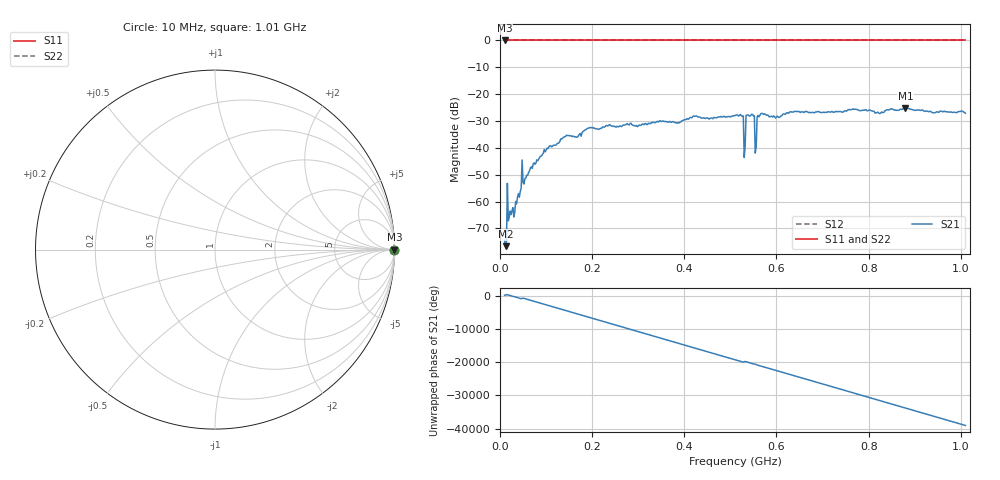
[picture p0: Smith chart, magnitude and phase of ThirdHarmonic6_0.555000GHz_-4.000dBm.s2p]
! 8/15/2025 5:36:57 PM
! C:\ANRITSUVNA\TEMP\TEMP.S2P
! CHANNEL.1
! TR.MEASUREMENT
! RAW.DATA
! RF.CORRECTION.OFF
! AVERAGING.OFF
! IF.BANDWIDTH: 5KHZ
! SWEEPTYPE:  FREQ.SWEEP(Linear)
! Reference Plane Port Info
! PORT:  PORT1  PORT2
! DISTANCE:  0  m  0  m
! TIME:  0  s  0  s
! PHASE.OFFSET:  0  deg.  0  deg.
! LOSS:  0  dB  0  dB
! REF.LOSS:  0  dB  0  dB
! REF.FREQ:  0  Hz  0  Hz
! Power Info
! POWER:  -20  dBm  -20  dBm
! EFF.POWER:  -20  dBm  -20  dBm
! SOURCE.ATTEN:  0  dB  0  dB
! TEST.ATTEN:  0  dB  0  dB
# GHZ S RI R 50.0
! FREQ.GHZ  S11RE  S11IM  S21RE  S21IM  S12RE  S12IM  S22RE  S22IM
!; PortSelection: Port_12
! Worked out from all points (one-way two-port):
!   501 points, 10 MHz to 1.01 GHz, reference 50 ohm
!   highest |S21| = -25.22 dB at 880 MHz (marker M1); lowest = -76.6 dB at 12 MHz (marker M2)
!   lowest |S11| = 0.0 dB at 10 MHz (marker M3)
!   |S11| at or under -10 dB: nowhere
!   |S22| runs from 0.0 to 0.0 dB; largest |S21 - S12| = 1.1
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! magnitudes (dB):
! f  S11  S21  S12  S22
! 10 MHz  0.0  -74.4  0.0  0.0
! 12 MHz  0.0  -76.6  0.0  0.0
! 20 MHz  0.0  -65.8  0.0  0.0
! 28 MHz  0.0  -62.2  0.0  0.0
! 50 MHz  0.0  -52.9  0.0  0.0
! 70 MHz  0.0  -47.6  0.0  0.0
! 106 MHz  0.0  -39.6  0.0  0.0
! 178 MHz  0.0  -34.4  0.0  0.0
! 344 MHz  0.0  -30.4  0.0  0.0
! 510 MHz  0.0  -28.0  0.0  0.0
! 524 MHz  0.0  -28.1  0.0  0.0
! 528 MHz  0.0  -28.1  0.0  0.0
! 538 MHz  0.0  -27.7  0.0  0.0
! 548 MHz  0.0  -27.5  0.0  0.0
! 552 MHz  0.0  -28.0  0.0  0.0
! 558 MHz  0.0  -28.4  0.0  0.0
! 562 MHz  0.0  -28.5  0.0  0.0
! 570 MHz  0.0  -27.3  0.0  0.0
! 678 MHz  0.0  -26.8  0.0  0.0
! 844 MHz  0.0  -25.9  0.0  0.0
! 880 MHz  0.0  -25.2  0.0  0.0
! 1.01 GHz  0.0  -27.1  0.0  0.0
